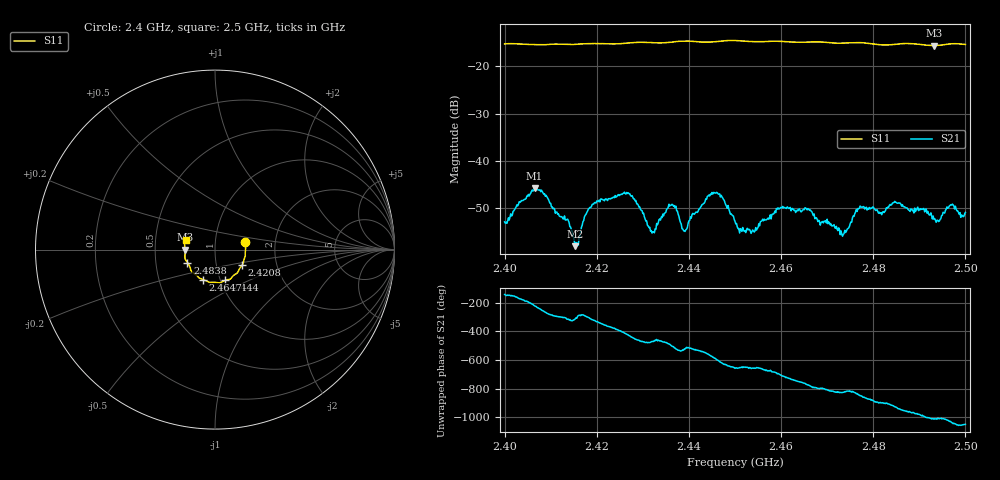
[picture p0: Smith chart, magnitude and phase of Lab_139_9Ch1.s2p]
# Hz S RI R 50
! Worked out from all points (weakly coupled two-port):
!   601 points, 2.4 GHz to 2.5 GHz, reference 50 ohm
!   highest |S21| = -45.85 dB at 2.4065 GHz (marker M1); lowest = -58.1 dB at 2.4153 GHz (marker M2)
!   lowest |S11| = -15.6 dB at 2.4932 GHz (marker M3), VSWR 1.40, Z = 35.8 - j0.0775 ohm
!   |S11| at or under -10 dB: start of sweep to end of sweep
!   S12 and S22 are empty: the file has one direction only
!   S11 on the Smith chart (normalised r, x): 2.4 GHz: 1.40, +0.12; 2.4208 GHz: 1.33, -0.24; 2.444 GHz: 1.06, -0.37; 2.4647 GHz: 0.83, -0.29; 2.4838 GHz: 0.73, -0.11; 2.5 GHz: 0.72, +0.08
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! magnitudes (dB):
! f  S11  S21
! 2.4 GHz  -15.3  -53.0
! 2.4065 GHz  -15.4  -45.9
! 2.4153 GHz  -15.3  -58.1
! 2.4167 GHz  -15.2  -54.1
! 2.4208 GHz  -15.2  -48.1
! 2.4267 GHz  -15.1  -46.9
! 2.4318 GHz  -15.0  -54.8
! 2.4333 GHz  -15.0  -53.2
! 2.4367 GHz  -14.8  -49.6
! 2.4392 GHz  -14.6  -55.0
! 2.444 GHz  -14.9  -47.5
! 2.4467 GHz  -14.7  -47.0
! 2.45 GHz  -14.5  -52.9
! 2.4538 GHz  -14.8  -54.7
! 2.4647 GHz  -14.9  -50.5
! 2.4667 GHz  -14.8  -50.8
! 2.4733 GHz  -15.1  -56.0
! 2.4772 GHz  -15.0  -49.6
! 2.4833 GHz  -15.5  -49.9
! 2.4838 GHz  -15.4  -49.4
! 2.4932 GHz  -15.6  -52.4
! 2.5 GHz  -15.4  -51.0
